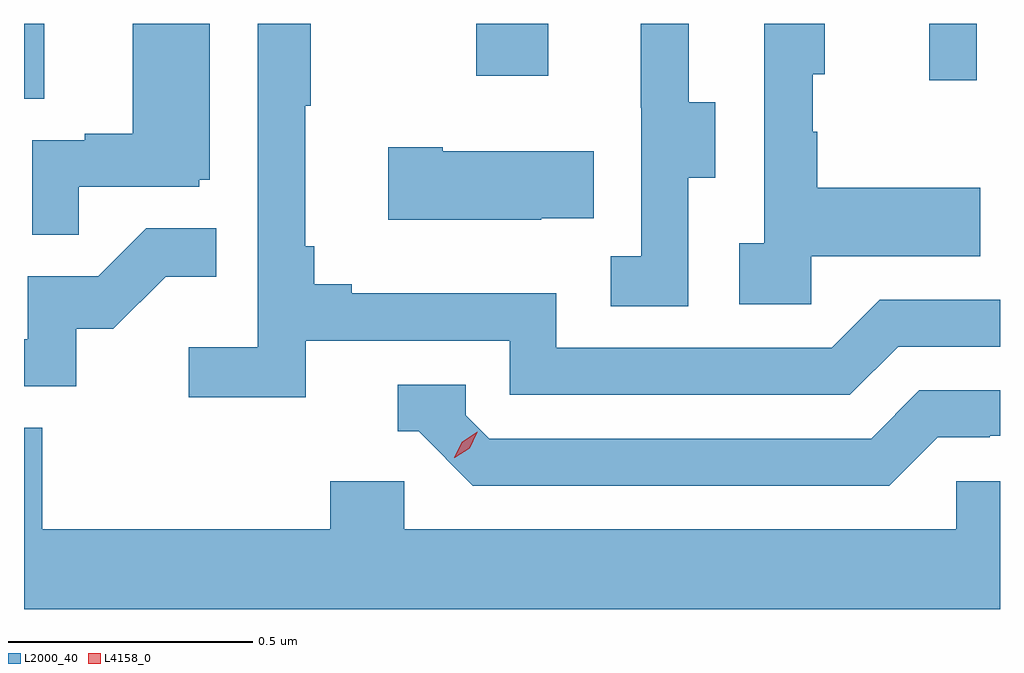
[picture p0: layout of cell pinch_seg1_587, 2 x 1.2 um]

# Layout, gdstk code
import gdstk
lib = gdstk.Library(unit=1e-6, precision=1e-09)
def R(c, l, rs):  # rectangles x0, y0, x1, y1
    for r in rs: c.add(gdstk.rectangle(r[:2], r[2:], *l))
def P(c, l, *ps):  # polygons
    for p in ps: c.add(gdstk.Polygon(p, *l))
L2000_40 = (2000, 40)
L4158_0 = (4158, 0)

pinch_seg1_587 = lib.new_cell('pinch_seg1_587')
R(pinch_seg1_587, L2000_40, [(1035.361,515.482,1035.403,515.635), (1037.216,515.52,1037.313,515.635), (1036.288,515.529,1036.435,515.635)])
P(pinch_seg1_587, L2000_40, [(1035.473,515.301),(1035.72,515.301),(1035.72,515.316),(1035.742,515.316),(1035.742,515.635),(1035.584,515.635),(1035.584,515.41),(1035.485,515.41),(1035.485,515.397),(1035.378,515.397),(1035.378,515.203),(1035.473,515.203)],
  [(1036.722,515.32),(1036.777,515.32),(1036.777,515.475),(1036.723,515.475),(1036.723,515.635),(1036.625,515.635),(1036.625,515.463),(1036.626,515.463),(1036.626,515.159),(1036.563,515.159),(1036.563,515.056),(1036.722,515.056)],
  [(1035.938,514.986),(1036.356,514.986),(1036.356,514.875),(1037.053,514.875),(1037.152,514.974),(1037.361,514.974),(1037.361,515.07),(1037.115,515.07),(1037.016,514.971),(1036.452,514.971),(1036.452,515.083),(1036.033,515.083),(1036.033,515.102),(1035.956,515.102),(1035.956,515.179),(1035.937,515.179),(1035.937,515.467),(1035.949,515.467),(1035.949,515.635),(1035.84,515.635),(1035.84,514.972),(1035.699,514.972),(1035.699,514.87),(1035.938,514.87)],
  [(1036.974,515.159),(1037.321,515.159),(1037.321,515.299),(1036.987,515.299),(1036.987,515.414),(1036.977,515.414),(1036.977,515.532),(1037.002,515.532),(1037.002,515.635),(1036.878,515.635),(1036.878,515.186),(1036.827,515.186),(1036.827,515.061),(1036.974,515.061)],
  [(1036.421,515.237),(1036.529,515.237),(1036.529,515.374),(1036.219,515.374),(1036.219,515.382),(1036.107,515.382),(1036.107,515.234),(1036.421,515.234)],
  [(1035.468,515.01),(1035.544,515.01),(1035.651,515.117),(1035.755,515.117),(1035.755,515.216),(1035.611,515.216),(1035.513,515.118),(1035.369,515.118),(1035.369,514.989),(1035.361,514.989),(1035.361,514.893),(1035.468,514.893)],
  [(1037.233,514.788),(1037.34,514.788),(1037.34,514.791),(1037.361,514.791),(1037.361,514.884),(1037.196,514.884),(1037.097,514.785),(1036.314,514.785),(1036.266,514.833),(1036.266,514.896),(1036.127,514.896),(1036.127,514.8),(1036.17,514.8),(1036.281,514.689),(1037.134,514.689)],
  [(1037.361,514.698),(1037.271,514.698),(1037.271,514.6),(1036.14,514.6),(1036.14,514.698),(1035.989,514.698),(1035.989,514.6),(1035.398,514.6),(1035.398,514.808),(1035.361,514.808),(1035.361,514.436),(1037.361,514.436)])
P(pinch_seg1_587, L4158_0, [(1036.243,514.746),(1036.243,514.747),(1036.259,514.779),(1036.29,514.799),(1036.29,514.799),(1036.29,514.798),(1036.274,514.766),(1036.244,514.746)])

lib.write_gds('pinch_seg1_587.gds')
